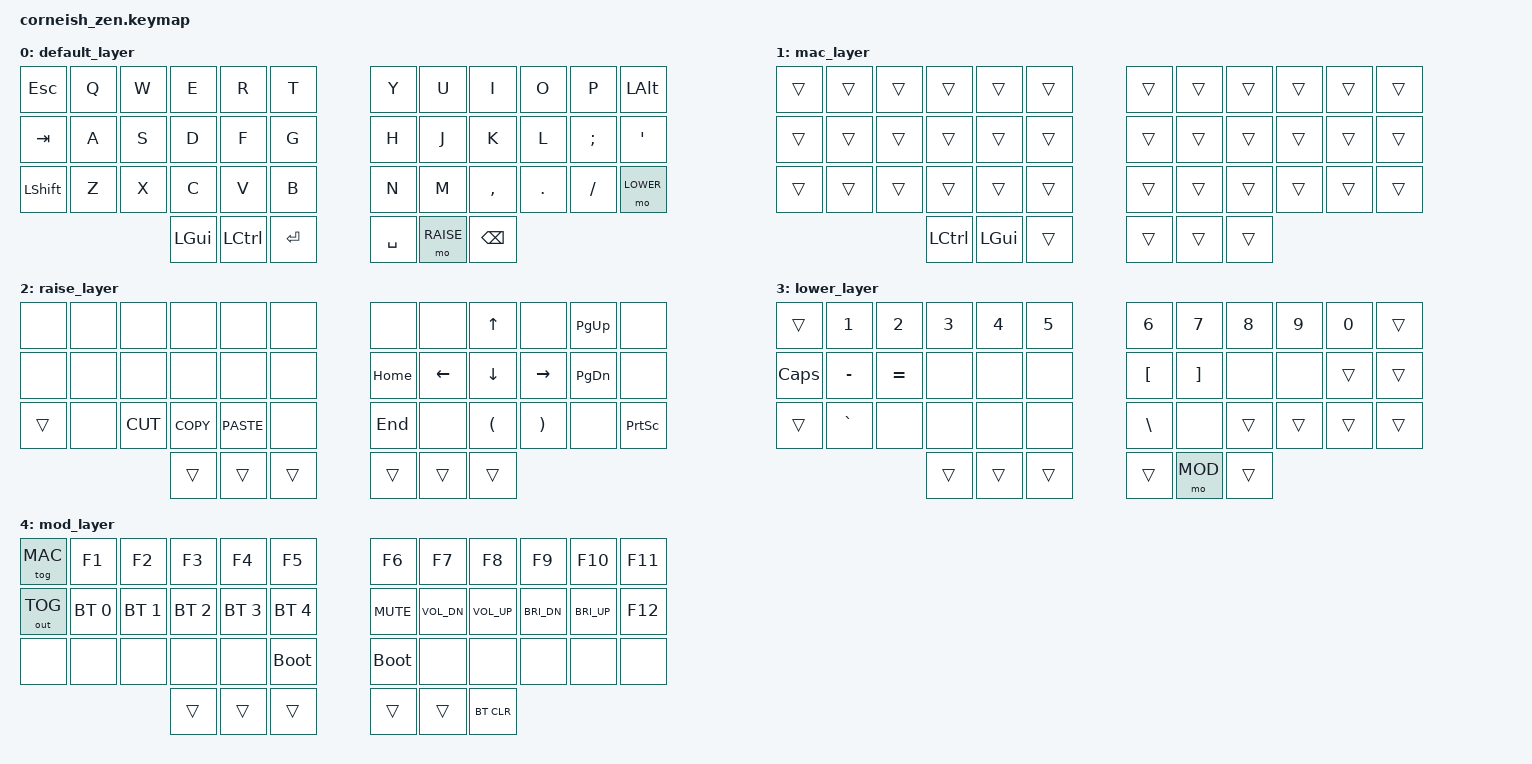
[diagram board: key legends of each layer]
#include <behaviors.dtsi>
#include <dt-bindings/zmk/keys.h>
#include <dt-bindings/zmk/bt.h>
#include <dt-bindings/zmk/outputs.h>

#define DEFAULT 0
#define MAC     1
#define RAISE   2
#define LOWER   3
#define MOD     4

/ {
    keymap {
        compatible = "zmk,keymap";

        default_layer {
            bindings = <
&kp ESC   &kp Q     &kp W     &kp E     &kp R     &kp T           &kp Y     &kp U     &kp I     &kp O     &kp P     &kp LALT
&kp TAB   &kp A     &kp S     &kp D     &kp F     &kp G           &kp H     &kp J     &kp K     &kp L     &kp SEMI  &kp SQT
&kp LSHFT &kp Z     &kp X     &kp C     &kp V     &kp B           &kp N     &kp M     &kp COMMA &kp DOT   &kp FSLH  &mo LOWER
                              &kp LGUI  &kp LCTRL &kp RET         &kp SPACE &mo RAISE &kp BSPC
            >;
        };

        mac_layer {
            bindings = <
&trans    &trans    &trans    &trans    &trans    &trans          &trans    &trans    &trans    &trans    &trans    &trans
&trans    &trans    &trans    &trans    &trans    &trans          &trans    &trans    &trans    &trans    &trans    &trans
&trans    &trans    &trans    &trans    &trans    &trans          &trans    &trans    &trans    &trans    &trans    &trans
                              &kp LCTRL &kp LGUI  &trans          &trans    &trans    &trans
            >;
        };

        raise_layer {
            bindings = <
&none     &none     &none     &none      &none       &none           &none    &none    &kp UP    &none     &kp PG_UP &none
&none     &none     &none     &none      &none       &none           &kp HOME &kp LEFT &kp DOWN  &kp RIGHT &kp PG_DN &none
&trans    &none     &kp K_CUT &kp K_COPY &kp K_PASTE &none           &kp END  &none    &kp LPAR  &kp RPAR  &none     &kp PSCRN
                              &trans     &trans      &trans          &trans   &trans   &trans
            >;
        };

        lower_layer {
            bindings = <
&trans    &kp N1    &kp N2    &kp N3    &kp N4    &kp N5          &kp N6    &kp N7     &kp N8    &kp N9    &kp N0    &trans
&kp CAPS  &kp MINUS &kp EQUAL &none     &none     &none           &kp LBKT  &kp RBKT   &none     &none     &trans    &trans
&trans    &kp GRAVE &none     &none     &none     &none           &kp BSLH  &none      &trans    &trans    &trans    &trans
                              &trans    &trans    &trans          &trans    &mo MOD    &trans
            >;
        };

        mod_layer {
                    bindings = <
&tog MAC     &kp F1       &kp F2       &kp F3       &kp F4       &kp F5       &kp F6      &kp F7       &kp F8       &kp F9       &kp F10      &kp F11 
&out OUT_TOG &bt BT_SEL 0 &bt BT_SEL 1 &bt BT_SEL 2 &bt BT_SEL 3 &bt BT_SEL 4 &kp C_MUTE  &kp C_VOL_DN &kp C_VOL_UP &kp C_BRI_DN &kp C_BRI_UP &kp F12
&none        &none        &none        &none        &none        &bootloader  &bootloader &none        &none        &none        &none        &none
                                       &trans       &trans       &trans       &trans      &trans       &bt BT_CLR
                    >;
                };
    };
};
